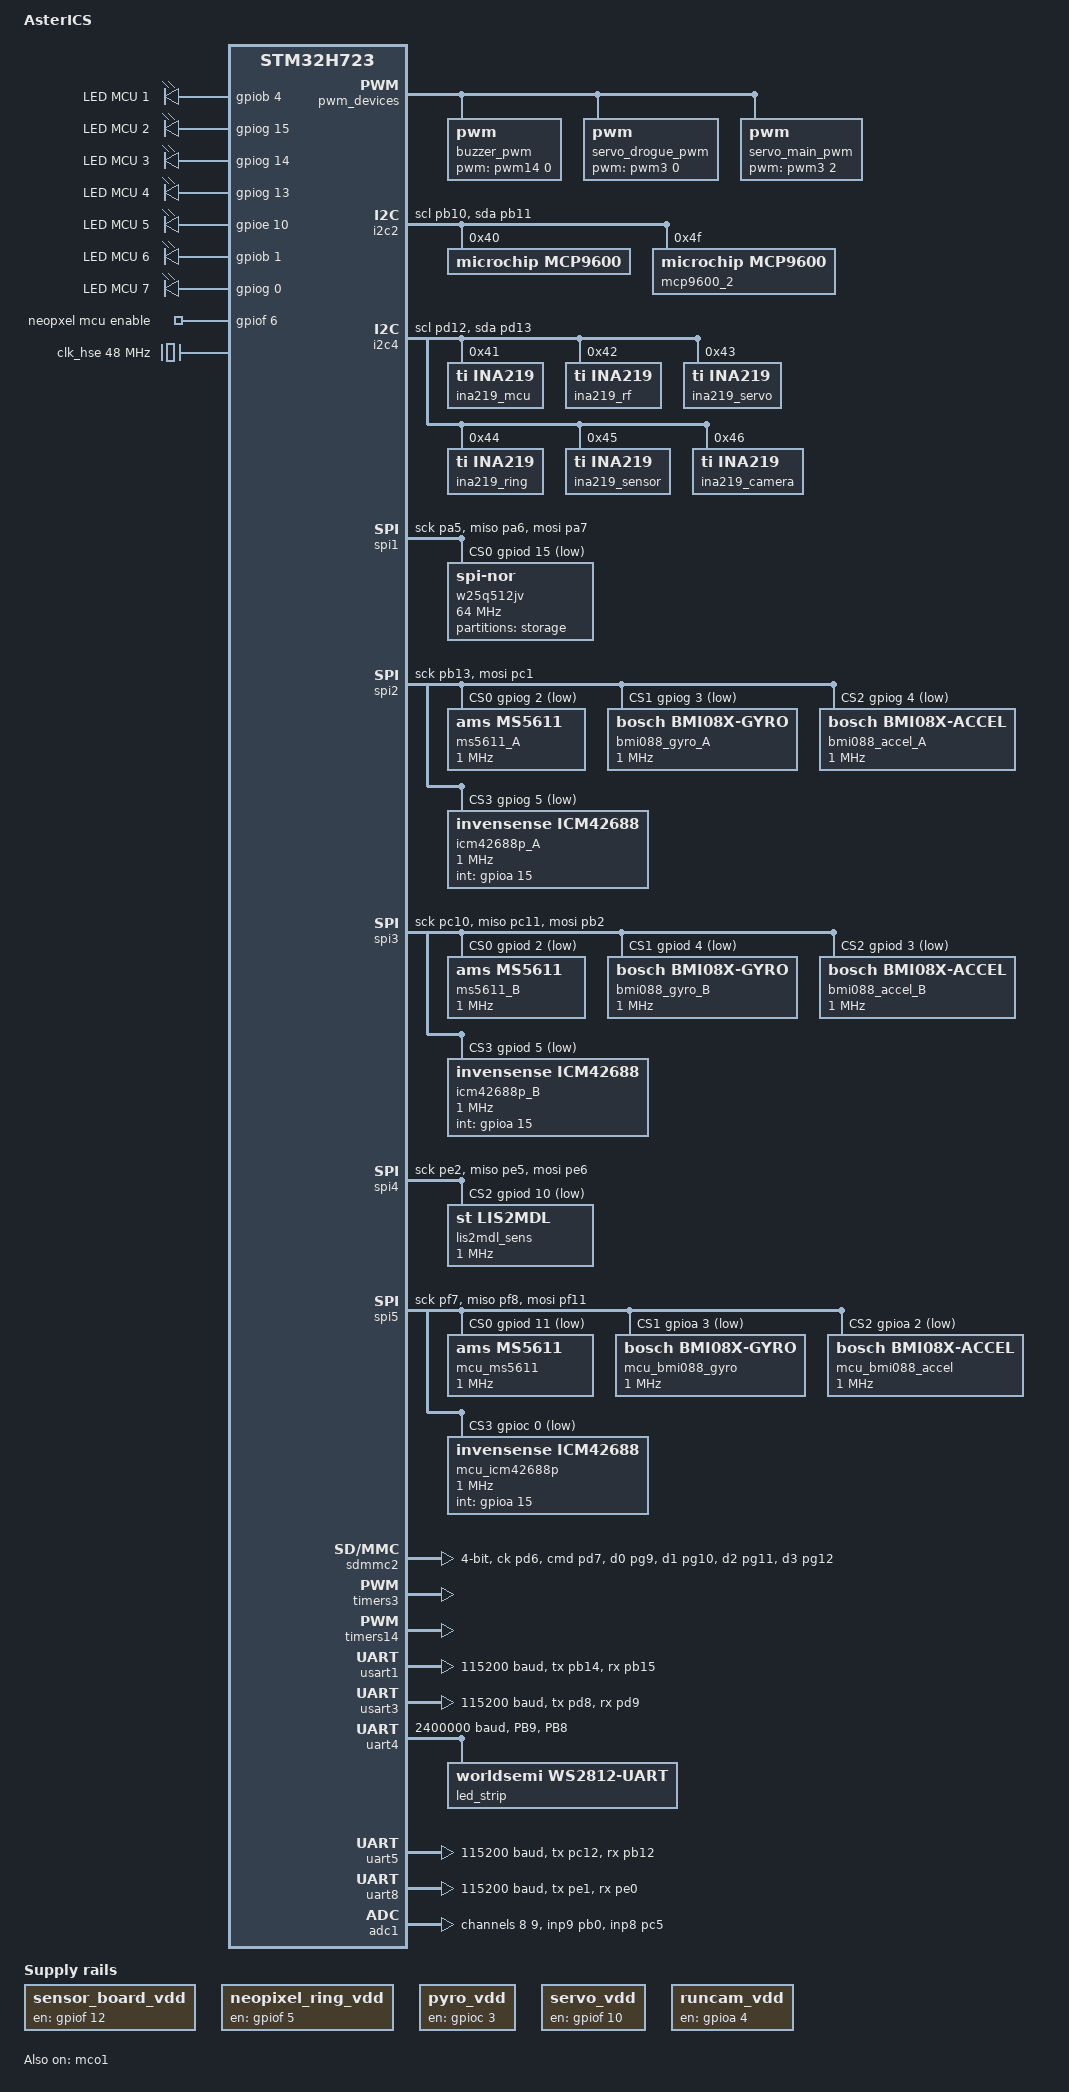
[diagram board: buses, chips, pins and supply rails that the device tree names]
/dts-v1/;
#include <st/h7/stm32h723.dtsi>
#include <st/h7/stm32h723zgtx-pinctrl.dtsi>

#include <zephyr/dt-bindings/sensor/icm42688.h> // To use sensor macros
#include <zephyr/dt-bindings/sensor/bmp581.h>

#include <zephyr/dt-bindings/led/led.h>
#include <zephyr/dt-bindings/gpio/gpio.h>
#include <zephyr/dt-bindings/memory-attr/memory-attr-arm.h>
#include <zephyr/dt-bindings/dma/stm32_dma.h>


/ {
    model = "AsterICS";
    compatible = "asterics";

    chosen {
        zephyr,console = &usart1;
        zephyr,shell-uart = &usart1;
        zephyr,sram = &sram0;
        zephyr,flash = &flash0;
        zephyr,led-strip = &led_strip;
    };

    leds {
        compatible = "gpio-leds";
        led_mcu_1: led_mcu_1 {
            gpios = <&gpiob 4 GPIO_ACTIVE_HIGH>;
            label = "LED MCU 1";
        };
        led_mcu_2: led_mcu_2 {
            gpios = <&gpiog 15 GPIO_ACTIVE_HIGH>;
            label = "LED MCU 2";
        };
        led_mcu_3: led_mcu_3 {
            gpios = <&gpiog 14 GPIO_ACTIVE_HIGH>;
            label = "LED MCU 3";
        };
        led_mcu_4: led_mcu_4 {
            gpios = <&gpiog 13 GPIO_ACTIVE_HIGH>;
            label = "LED MCU 4";
        };
        led_mcu_5: led_mcu_5 {
            gpios = <&gpioe 10 GPIO_ACTIVE_HIGH>;
            label = "LED MCU 5";
        };
        led_mcu_6: led_mcu_6 {
            gpios = <&gpiob 1 GPIO_ACTIVE_HIGH>;
            label = "LED MCU 6";
        };
        led_mcu_7: led_mcu_7 {
            gpios = <&gpiog 0 GPIO_ACTIVE_HIGH>;
            label = "LED MCU 7";
        };
    };

    neopixel_enable: neopixel-enable {
        compatible = "gpio-keys";
        neopixel_en: neopixel_en {
            gpios = <&gpiof 6 GPIO_ACTIVE_HIGH>;
            label = "neopxel mcu enable";
        };
    };

    /* led_strip_1: ws2812_1 {
        compatible = "worldsemi,ws2812-gpio";

        chain-length = <24>;
        color-mapping = <LED_COLOR_ID_GREEN
                        LED_COLOR_ID_RED
                        LED_COLOR_ID_BLUE>;
        gpios = <&gpiob 8 GPIO_ACTIVE_HIGH>;

    //parametri di default per WS2812. Se necessario, modificarli
        delay-t1h = <700>;   
        delay-t1l = <600>;
        delay-t0h = <350>;
        delay-t0l = <800>;
        reset-delay = <8000>;

        // sarebbe intelligente inserire la configurazione del pin di enable/abilitazione del regolatore corrispondente
    };

    led_strip: ws2812_2 {
        compatible = "worldsemi,ws2812-uart";

        chain-length = <12>;
        color-mapping = <LED_COLOR_ID_GREEN
                        LED_COLOR_ID_RED
                        LED_COLOR_ID_BLUE>;
        gpios = <&gpiob 9 GPIO_ACTIVE_HIGH>;

        delay-t1h = <700>;
        delay-t1l = <600>;
        delay-t0h = <350>;
        delay-t0l = <800>;
        reset-delay = <8000>;
        
    }; */

    pwm_devices {
        buzzer_pwm: buzzer_pwm {
            compatible = "pwm";
            pwms = <&pwm14 0 250000 PWM_POLARITY_NORMAL>; 
        };

        servo_drogue_pwm: servo_drogue_pwm {
            compatible = "pwm";
            // canale 1, 20ms period (50Hz)
            pwms = <&pwm3 0 20000000 PWM_POLARITY_NORMAL>; 
        };

        servo_main_pwm: servo_main_pwm {
            compatible = "pwm";
            // canale 3, 20ms period (50Hz)
            pwms = <&pwm3 2 20000000 PWM_POLARITY_NORMAL>; 
        };
    };
    
    regulators {
        /* Primo alimentatore: es. per i sensori ambientali */
        sensor_board_vdd: regulator_sensor_board_vdd {
            compatible = "regulator-fixed";
            regulator-name = "sensor_board_vdd_3v3";
            enable-gpios = <&gpiof 12 GPIO_ACTIVE_HIGH>; /* Pin che accende l'alimentatore */
            
            startup-delay-us = <1000>; /* Tempo di assestamento prima che sia pronto */
            
            regulator-boot-on; 
        };

        neopixel_ring_vdd: regulator_neopixel_ring_vdd {
            compatible = "regulator-fixed";
            regulator-name = "neopixel_ring_5v";
            enable-gpios = <&gpiof 5 GPIO_ACTIVE_HIGH>; /* Pin che accende l'alimentatore */
            
            startup-delay-us = <200>; /* Tempo di assestamento prima che sia pronto */
            
            regulator-boot-on; 
            //regulator-boot-off;
        };

        pyro_vdd: regulator_pyro_vdd {
            compatible = "regulator-fixed";
            regulator-name = "pyro_6v";
            enable-gpios = <&gpioc 3 GPIO_ACTIVE_HIGH>; /* Pin che accende l'alimentatore */
            
            startup-delay-us = <200>; /* Tempo di assestamento prima che sia pronto */
            
            //regulator-boot-on; 
            regulator-boot-off;
        };

        servo_vdd: regulator_servo_vdd {
            compatible = "regulator-fixed";
            regulator-name = "servo_6v";
            enable-gpios = <&gpiof 10 GPIO_ACTIVE_HIGH>;

            startup-delay-us = <200>;
            
            regulator-boot-off;
        };

        runcam_vdd: regulator_runcam_vdd {
            compatible = "regulator-fixed";
            regulator-name = "runcam_pwr";
            enable-gpios = <&gpioa 4 GPIO_ACTIVE_HIGH>;
            
            startup-delay-us = <2000>;
            
            regulator-boot-off;
        };

        //Telemetry regulator (not available)

        //mcu regulator (not available)

    };
};

&sram0 {
    reg = <0x24000000 DT_SIZE_K(320)>;
};

&flash0 {
    reg = <0x08000000 DT_SIZE_K(1024)>;
};

&clk_hse {
    clock-frequency = <DT_FREQ_M(48)>;
    status = "okay";
};

&clk_lse {
    driving-capability = <2>;
    status = "okay";
};

&pll {
    div-m = <3>;
    mul-n = <34>;
    div-p = <1>;
    div-q = <10>;
    div-r = <11>;
    fracn = <3072>;
    clocks = <&clk_hse>;
    status = "okay";
};

&pll2 {
    div-m = <3>;
    mul-n = <12>;
    div-p = <3>;
    div-q = <3>;
    div-r = <3>;
    fracn = <0>;

    clocks = <&clk_hse>;
    status = "okay";
};

&pll3 {
    div-m = <3>;
    mul-n = <12>;
    div-p = <3>;
    div-q = <3>;
    div-r = <3>;
    fracn = <0>;

    clocks = <&clk_hse>;
    status = "okay";
};

&rcc {
    clocks = <&pll>;
    clock-frequency = <DT_FREQ_M(550)>; /* CPU Core Clock */
    d1cpre = <1>;   // sets the CPU clock, same as systick
    hpre = <2>;     // 275MHz to AXI, HCLK3, AHB1, AHB2, AHB4
    d1ppre = <2>;   //137.5MHz to APB3 peripheral clocks
    d2ppre1 = <2>;  //137.5MHz to APB1 peripheral clocks
    d2ppre2 = <2>;  //137.5MHz to APB2 peripheral clocks
    d3ppre = <2>;   //137.5MHz to APB4 peripheral clocks
    //APB1 timer clocks = APB1 clock * 2 = 275MHz
    //APB2 timer clocks = APB2 clock * 2 = 275MHz
};

&mco1 {
    clocks = <&rcc STM32_SRC_LSE MCO1_SEL(MCO1_SEL_LSE)>;
    prescaler = <MCO1_PRE(MCO_PRE_DIV_1)>;
    pinctrl-0 = <&rcc_mco_1_pa8>;
    pinctrl-names = "default";
    status = "okay";
};

&i2c2 {
    status = "okay";

    pinctrl-0 = <&i2c2_scl_pb10 &i2c2_sda_pb11>;
    pinctrl-names = "default";

    //TODO: clocks = <&rcc STM32_CLOCK(APB1, 22)>;

    //https://docs.zephyrproject.org/latest/build/dts/api/bindings/sensor/microchip%2Cmcp9600.html#dtbinding-microchip-mcp9600
    //TODO: parametri
    mcp9600: mcp9600@40 {
        compatible = "microchip,mcp9600";
        reg = <0x40>;
    };

    mcp9600_2: mcp9600@4f {
        compatible = "microchip,mcp9600";
        reg = <0x4f>;
    };
};

&i2c4 {
    status = "okay";

    pinctrl-0 = <&i2c4_scl_pd12 &i2c4_sda_pd13>;
    pinctrl-names = "default";

    //TODO: clocks = <&rcc STM32_CLOCK(APB4, 

    // I2C4 ha a disposizione il BDMA, che può raggiungere locazioni di RAM solo nel dominio SRAM4
    // Vedi Table 2 dell'RM0468

    // i2c4_rx
    dmas = <&dmamux2 0 13 (STM32_DMA_PERIPH_RX | STM32_DMA_PERIPH_NO_INC | STM32_DMA_PERIPH_8BITS | STM32_DMA_OFFSET_LINKED_BUS | STM32_DMA_PRIORITY_MEDIUM)>;
    // i2c4_tx
    dmas = <&dmamux2 1 14 (STM32_DMA_PERIPH_TX | STM32_DMA_PERIPH_NO_INC | STM32_DMA_PERIPH_8BITS | STM32_DMA_OFFSET_LINKED_BUS | STM32_DMA_PRIORITY_MEDIUM)>;

    //https://docs.zephyrproject.org/latest/build/dts/api/bindings/sensor/ti,ina219.html
    ina219_mcu: ina219@41 {
        compatible = "ti,ina219";
        reg = <0x41>;

        //required
        lsb-microamp = <50>;    //consente di avere una dinamica di 1.6A
        shunt-milliohm = <27>;
        
        //optional
        brng = <1>;     //BUS Voltage: 0: 16V, 1: 32V
        pg = <0>;       //±40 mV, ho un leggero overflow nel caso di consumo di alta corrente, ma non dovrebbe accadere mai
        badc = <9>;     //  Bus  //  ADC Resolution and sample averaging. TODO: change this depending on sampling frequency
        sadc = <9>;     // Shunt //  "" ""  ""  ""
        friendly-name = "ina219-mcu";
    };

    ina219_rf: ina219@42 {
        compatible = "ti,ina219";
        reg = <0x42>;

        //required
        lsb-microamp = <50>;    //consente di avere una dinamica di 1.6A
        shunt-milliohm = <27>;
        
        //optional
        brng = <1>;
        pg = <0>;       //±40 mV
        badc = <9>;
        sadc = <9>;
        friendly-name = "ina219-rf";
    };

    ina219_servo: ina219@43 {
        compatible = "ti,ina219";
        reg = <0x43>;

        //required
        lsb-microamp = <100>;
        shunt-milliohm = <27>;
        
        //optional
        brng = <1>;
        pg = <1>;       //±80 mV
        badc = <9>;
        sadc = <9>;
        friendly-name = "ina219-servo";
        };

    ina219_ring: ina219@44 {
        compatible = "ti,ina219";
        reg = <0x44>;

        //required
        lsb-microamp = <100>;
        shunt-milliohm = <27>;
        
        //optional
        brng = <1>;
        pg = <1>;       //±80 mV
        badc = <9>;
        sadc = <9>;
        friendly-name = "ina219-ring";
    };

    ina219_sensor: ina219@45 {
        compatible = "ti,ina219";
        reg = <0x45>;

        //required
        lsb-microamp = <30>;
        shunt-milliohm = <27>;
        
        //optional
        brng = <1>;
        pg = <0>;       //±40 mV
        badc = <9>;
        sadc = <9>;
        friendly-name = "ina219-sensor";
    };

    ina219_camera: ina219@46 {
        compatible = "ti,ina219";
        reg = <0x46>;

        //required
        lsb-microamp = <100>;
        shunt-milliohm = <27>;
        
        //optional
        brng = <1>;
        pg = <1>;
        badc = <9>;
        sadc = <9>;
        friendly-name = "ina219-camera";
    };

};

&spi1 {
    status = "okay";

    pinctrl-0 = <&spi1_sck_pa5 &spi1_miso_pa6 &spi1_mosi_pa7>;
    pinctrl-names = "default";

    clocks = <&rcc STM32_CLOCK(APB2, 12)>,
            <&rcc STM32_SRC_PLL2_P SPI123_SEL(1)>;

    cs-gpios = <&gpiod 15 (GPIO_ACTIVE_LOW | GPIO_PULL_UP)>;

    w25q512jv: w25q512jv@0 {
        compatible = "jedec,spi-nor";
        reg = <0>;

        spi-max-frequency = <64000000>;

        /* Dimensione in bit: 512 Mbit = 64 MByte = 0x4000000 */
        size = <0x4000000>;

        /* JEDEC ID per W25Q512JV-IQ/JQ:
            Manufacturer: 0xEF (Winbond)
            Memory Type:  0x40 (SPI)
           Capacity:     0x20 (512Mbit) */

        /* JEDEC ID per MX25L512:
            Manufacturer: 0xC2 (mxic)
            Memory Type:  0x20 (SPI)
           Capacity:     0x1a (512Mbit) */
        jedec-id = [C2 20 1a];  //check for different data size and memory type
    
        /* Partizionamento (Opzionale ma raccomandato) */
        partitions {
            compatible = "fixed-partitions";
            #address-cells = <1>;
            #size-cells = <1>;

            storage_partition: partition@0 {
                label = "storage";
                reg = <0x00000000 0x04000000>; /* Tutta la memoria */
            };
        };

    };
};

&spi2 {
    status = "okay";

    pinctrl-0 = <&spi2_sck_pb13 &spi2_miso_pc2_c &spi2_mosi_pc1>;
    pinctrl-names = "default";

    clocks = <&rcc STM32_CLOCK(APB1, 14)>,
            <&rcc STM32_SRC_PLL2_P SPI123_SEL(1)>;

    cs-gpios = <&gpiog 2 (GPIO_ACTIVE_LOW | GPIO_PULL_UP)>,     //ms56
                <&gpiog 3 (GPIO_ACTIVE_LOW | GPIO_PULL_UP)>,    //gyro
                <&gpiog 4 (GPIO_ACTIVE_LOW | GPIO_PULL_UP)>,    //accel
                <&gpiog 5 (GPIO_ACTIVE_LOW | GPIO_PULL_UP)>;    //icm

    ms5611_A: ms5611@0 {
        status = "okay";

        compatible = "ams,ms5611";
        reg = <0>;
        spi-max-frequency = <1000000>;
    };

    bmi088_gyro_A: bmi08x-gyro@1 {
        status = "okay";

        compatible = "bosch,bmi08x-gyro";
        reg = <1>;
        spi-max-frequency = <1000000>;

        gyro-hz = "400_47";
        gyro-fs = <2000>;

        friendly-name="bmi088-gyro-A";
    };

    bmi088_accel_A: bmi08x-accel@2 {
        status = "okay";
        compatible = "bosch,bmi08x-accel";
        reg = <2>;
        spi-max-frequency = <1000000>;

        accel-hz = "1600";
        accel-fs = <16>;

        //data-sync = <&bmi088_gyro_A> //TODO: è necessario collegare un jumper fisicamente sulla scheda, controllare!
        friendly-name="bmi088-accel-A";
    };

    icm42688p_A: icm42688p@3 {
        status = "okay";
        compatible = "invensense,icm42688", "invensense,icm4268x";
        reg = <3>;
        spi-max-frequency = <1000000>;
        friendly-name = "icm42688-p-A";

        int-gpios = <&gpioa 15 GPIO_ACTIVE_HIGH>;
        
        /* Accel Config */
        accel-pwr-mode = <ICM42688_DT_ACCEL_LN>;
        accel-odr = <ICM42688_DT_ACCEL_ODR_1000>;
        accel-fs = <ICM42688_DT_ACCEL_FS_8>;

        /* Gyro */
        gyro-pwr-mode = <ICM42688_DT_GYRO_LN>;
        gyro-odr = <ICM42688_DT_GYRO_ODR_1000>;
        gyro-fs = <ICM42688_DT_GYRO_FS_1000>;
    };
};

&spi3 {
    status = "okay";

    pinctrl-0 = <&spi3_sck_pc10 &spi3_miso_pc11 &spi3_mosi_pb2>;
    pinctrl-names = "default";

    clocks = <&rcc STM32_CLOCK(APB1, 15)>,
            <&rcc STM32_SRC_PLL2_P SPI123_SEL(1)>;

    cs-gpios = <&gpiod 2 (GPIO_ACTIVE_LOW | GPIO_PULL_UP)>,     //ms56
                <&gpiod 4 (GPIO_ACTIVE_LOW | GPIO_PULL_UP)>,    //gyro
                <&gpiod 3 (GPIO_ACTIVE_LOW | GPIO_PULL_UP)>,    //acc
                <&gpiod 5 (GPIO_ACTIVE_LOW | GPIO_PULL_UP)>;    //icm

    ms5611_B: ms5611@0 {
        status = "okay";
        compatible = "ams,ms5611";
        reg = <0>;
        spi-max-frequency = <1000000>;
    };

    bmi088_gyro_B: bmi08x-gyro@1 {
        status = "okay";

        compatible = "bosch,bmi08x-gyro";
        reg = <1>;
        spi-max-frequency = <1000000>;

        gyro-hz = "400_47";
        gyro-fs = <2000>;

        friendly-name="bmi088-gyro-B";
    };

    bmi088_accel_B: bmi08x-accel@2 {
        status = "okay";
        compatible = "bosch,bmi08x-accel";
        reg = <2>;
        spi-max-frequency = <1000000>;

        accel-hz = "1600";
        accel-fs = <16>;

        //data-sync = <&bmi088_gyro_B> //TODO: è necessario collegare un jumper fisicamente sulla scheda, controllare!
        friendly-name="bmi088-accel-B";
    };

    icm42688p_B: icm42688p@3 {
        status = "okay";
        compatible = "invensense,icm42688", "invensense,icm4268x";
        reg = <3>;
        spi-max-frequency = <1000000>;
        friendly-name = "icm42688-p-B";

        int-gpios = <&gpioa 15 GPIO_ACTIVE_HIGH>;
        
        /* Accel Config */
        accel-pwr-mode = <ICM42688_DT_ACCEL_LN>;
        accel-odr = <ICM42688_DT_ACCEL_ODR_1000>;
        accel-fs = <ICM42688_DT_ACCEL_FS_8>;

        /* Gyro */
        gyro-pwr-mode = <ICM42688_DT_GYRO_LN>;
        gyro-odr = <ICM42688_DT_GYRO_ODR_1000>;
        gyro-fs = <ICM42688_DT_GYRO_FS_1000>;
    };
};

&spi4 {
    status = "okay";

    pinctrl-0 = <&spi4_sck_pe2 &spi4_miso_pe5 &spi4_mosi_pe6>;
    pinctrl-names = "default";

    clocks = <&rcc STM32_CLOCK(APB2, 13)>,
            <&rcc STM32_SRC_PLL3_Q SPI45_SEL(2)>;

    cs-gpios = <&gpiog 7 (GPIO_ACTIVE_LOW | GPIO_PULL_UP)>,     // BMP585
                <&gpiog 8 (GPIO_ACTIVE_LOW | GPIO_PULL_UP)>,    //H3LIS331D
                <&gpiod 10 (GPIO_ACTIVE_LOW | GPIO_PULL_UP)>,    //LIS2MDL
                <&gpiog 6 (GPIO_ACTIVE_LOW | GPIO_PULL_UP)>;    //HSCDRRN001BDSA3

    bmp585_sens: bmp585@0 {
        //NOTA: bmp585 is the same silicon as bmp581 but with barbed input
        status = "disabled";    //FIXME: the driver doesn't work in SPI mode yet
        compatible = "bosch,bmp581";
        reg = <0>;
        spi-max-frequency = <1000000>;
        friendly-name = "bmp585_sens";
    };

    //TODO: add h3lis331d driver and device tree node (@1)

    lis2mdl_sens: lis2mdl@2 {
        status = "okay";
        compatible = "st,lis2mdl";
        reg = <2>;
        spi-max-frequency = <1000000>;
        friendly-name = "lis2mdl_sens";
    };

    //TODO: add HSCDRRN001BDSA3 driver and device tree node (@3)
};

&spi5 {
    status = "okay";

    pinctrl-0 = <&spi5_sck_pf7 &spi5_miso_pf8 &spi5_mosi_pf11>;
    pinctrl-names = "default";

    /* * Sintassi: <&rcc MACRO_BUS_CLOCK BIT_MASK>,
     * <&rcc MACRO_SOURCE_CLOCK SELECTION_VAL>
     */
    clocks = <&rcc STM32_CLOCK(APB2, 20)>,
            <&rcc STM32_SRC_PLL3_Q SPI45_SEL(2)>;

    cs-gpios = <&gpiod 11 (GPIO_ACTIVE_LOW | GPIO_PULL_UP)>, //ms56
                <&gpioa 3 (GPIO_ACTIVE_LOW | GPIO_PULL_UP)>, //gyro
                <&gpioa 2 (GPIO_ACTIVE_LOW | GPIO_PULL_UP)>, //accel
                <&gpioc 0 (GPIO_ACTIVE_LOW | GPIO_PULL_UP)>, //icm
                <&gpioc 4 (GPIO_ACTIVE_LOW | GPIO_PULL_UP)>; //bmp

    mcu_ms5611: ms5611@0 {
        status = "okay";

        compatible = "ams,ms5611";
        reg = <0>;
        spi-max-frequency = <1000000>;
    };

    mcu_bmi088_gyro: bmi08x-gyro@1 {
        status = "okay";

        compatible = "bosch,bmi08x-gyro";
        reg = <1>;
        spi-max-frequency = <1000000>;

        gyro-hz = "400_47";
        gyro-fs = <2000>;

        friendly-name="bmi088-gyro-mcu";
    };

    mcu_bmi088_accel: bmi08x-accel@2 {
        status = "okay";
        compatible = "bosch,bmi08x-accel";
        reg = <2>;
        spi-max-frequency = <1000000>;

        accel-hz = "1600";
        accel-fs = <16>;

        //data-sync = <&mcu_bmi088_gyro> //TODO: è necessario collegare un jumper fisicamente sulla scheda, controllare!
        friendly-name="bmi088-accel-mcu";
    };

    mcu_icm42688p: mcu_icm42688p@3 {
        status = "okay";
        compatible = "invensense,icm42688", "invensense,icm4268x";
        reg = <3>;
        spi-max-frequency = <1000000>;
        friendly-name = "icm42688-p-mcu";

        int-gpios = <&gpioa 15 GPIO_ACTIVE_HIGH>;
        
        /* Accel Config */
        accel-pwr-mode = <ICM42688_DT_ACCEL_LN>;
        accel-odr = <ICM42688_DT_ACCEL_ODR_1000>;
        accel-fs = <ICM42688_DT_ACCEL_FS_8>;

        /* Gyro */
        gyro-pwr-mode = <ICM42688_DT_GYRO_LN>;
        gyro-odr = <ICM42688_DT_GYRO_ODR_1000>;
        gyro-fs = <ICM42688_DT_GYRO_FS_1000>;


        /* Correzione assi */
        /* axis-align-x = <SENSOR_AXIS_ALIGN_DT_Y>;
        axis-align-x-sign = <SENSOR_AXIS_ALIGN_DT_NEG>;
        
        axis-align-y = <SENSOR_AXIS_ALIGN_DT_X>;
        axis-align-y-sign = <SENSOR_AXIS_ALIGN_DT_NEG>;
        
        axis-align-z = <SENSOR_AXIS_ALIGN_DT_Z>;
        axis-align-z-sign = <SENSOR_AXIS_ALIGN_DT_NEG>; */
    };

    mcu_bmp585: mcu_bmp585@4 {
        //NOTA: bmp585 is the same silicon as bmp581 but with barbed input
        status = "disabled";    //FIXME: the driver doesn't work in SPI mode yet
        compatible = "bosch,bmp581";
        reg = <4>;
        spi-max-frequency = <1000000>;
        friendly-name = "bmp585-mcu";

        odr = <BMP581_DT_ODR_50_HZ>;
        press-osr = <BMP581_DT_OVERSAMPLING_4X>;
        temp-osr = <BMP581_DT_OVERSAMPLING_4X>;
        power-mode = <BMP581_DT_MODE_NORMAL>;
        press-iir = <0>;
        temp-iir = <0>;

    };

};

&sram4 {
    zephyr,memory-attr = <( DT_MEM_ARM(ATTR_MPU_RAM_NOCACHE) )>;
};

&sdmmc2 {
    // DMA NON disponibile per questa periferica
    status = "okay";
    pinctrl-0 = <&sdmmc2_ck_pd6 &sdmmc2_cmd_pd7
                &sdmmc2_d0_pg9 &sdmmc2_d1_pg10 
                &sdmmc2_d2_pg11 &sdmmc2_d3_pg12>;
    pinctrl-names = "default";

    cd-gpios = <&gpioa 10 GPIO_ACTIVE_LOW>;
    
    bus-width =<4>;

    clk-div = <2>; //the output bus frequency is FREQ_BUS = SDMMMC_CLK / [CLKDIV + 2]

    clocks = <&rcc STM32_CLOCK(AHB2, 9)>,
            <&rcc STM32_SRC_PLL2_R SDMMC_SEL(1)>; //SDMMMC_CLK = 64MHz
    
    #address-cells = <1>;
    #size-cells = <1>;

    disk-name = "SDCard";

};

&fdcan1 {
    status = "disabled";

    pinctrl-0 = <&fdcan1_rx_pd0 &fdcan1_tx_pd1>;
    pinctrl-names = "default";

    clk-divider = <4>;

};

&timers3 {
    status = "okay";

    pwm3: pwm {
        status = "okay";

        pinctrl-0 = <&tim3_ch1_pc6 &tim3_ch3_pc8>;
        pinctrl-names = "default";
    };
};

&timers14 {
    status = "okay";

    pwm14: pwm {
        status = "okay";

        pinctrl-0 = <&tim14_ch1_pf9>;
        pinctrl-names = "default";
    };
};

&usart1 {
    status = "okay";

    pinctrl-0 = <&usart1_tx_pb14 &usart1_rx_pb15>;
    pinctrl-names = "default";
    current-speed = <115200>;
};

&usart3 {
    status = "okay";

    pinctrl-0 = <&usart3_tx_pd8 &usart3_rx_pd9>;
    pinctrl-names = "default";
    current-speed = <115200>;
};

&uart4 {
    status = "okay";
    pinctrl-0 = <&uart4_ws2812_mcu &uart4_ws2812_ring>;
    pinctrl-names = "default";

    reg = <0x40004C00 DT_SIZE_K(1024)>;

    current-speed = <2400000>; /* 2.5 MHz baudrate */
       /* Frame constraint: (1 start + 7 data + 1 stop) = 9 bits total. */
    data-bits = <7>;
    /* tx-invert is required to create an idle-low signal. */
    tx-invert;

    dmas = <&dmamux1 0 64 (STM32_DMA_PERIPH_TX | STM32_DMA_PRIORITY_HIGH)>;
    dma-names = "tx";

    /* /* clocks = <&rcc STM32_CLOCK(APB1, 16)>,                 /* 1. Clock del bus (Accensione periferica) */
            // <&rcc STM32_SRC_PLL3_Q USART2345678_SEL(2)>;   /* 2. Clock di dominio (Baud rate a 64MHz) */ */ */

    led_strip: ws2812-strip {
        compatible = "worldsemi,ws2812-uart";
        status = "okay";
        chain-length = <50>;
        
        bits-per-symbol = <3>;
        
        one-symbol = <6>;   /* 0b110 */
        zero-symbol = <4>;  /* 0b100 */
        reset-delay = <50>; 

        color-mapping = <LED_COLOR_ID_GREEN
                         LED_COLOR_ID_RED
                         LED_COLOR_ID_BLUE>;
    };
};

&dmamux1 {
    status = "okay";
};

&dmamux2 {
    status = "okay";
};

&pinctrl {
    uart4_ws2812_mcu: uart4_tx_ws2812 {
        pinmux = <STM32_PINMUX('B', 9, AF8)>;
        bias-disable;
        drive-push-pull;
        slew-rate = "very-high-speed";
    };

    uart4_ws2812_ring: uart4_rx_ws2812 {
        pinmux = <STM32_PINMUX('B', 8, AF8)>;
        bias-disable;
        drive-push-pull;
        slew-rate = "very-high-speed";
    };
};

&uart5 {
    status = "okay";

    pinctrl-0 = <&uart5_tx_pc12 &uart5_rx_pb12>;
    pinctrl-names = "default";
    current-speed = <115200>;
};

&uart8 {
    status = "okay";

    pinctrl-0 = <&uart8_tx_pe1 &uart8_rx_pe0>;
    pinctrl-names = "default";
    current-speed = <115200>;
};

&adc1 {
    status = "okay";
    pinctrl-0 = <&adc1_inp9_pb0
                &adc1_inp8_pc5>;
    
    pinctrl-names = "default"; 

    //resolutions = <STM32_ADC_RES(16, 0x00);

    st,adc-clock-source = "ASYNC";


    // Il primo è il clock di bus, il secondo è quello della periferica. 
    //è possibile anche aggiungere un fattore di divisione per un prescaler del clock in ingresso
    // il secondo elemento va messo se si sceglie di usare un clock-source async
    clocks = <&rcc STM32_CLOCK(AHB1, 5)>,
            <&rcc STM32_SRC_PLL3_R ADC_SEL(1)>;

    clock-names = "adcx", "adc_ker";

    st,adc-prescaler = <4>;

    //sampling-times = <33>; // FIXME: random magic number, check in cubemx
    //st,adc-sequencer = "fixed";
    
    #address-cells = <1>;
    #size-cells = <0>;

    channel@8 {
        reg = <8>;
        zephyr,gain = "ADC_GAIN_1";
        zephyr,reference = "ADC_REF_INTERNAL";
        zephyr,acquisition-time = <ADC_ACQ_TIME_DEFAULT>;
        zephyr,resolution = <16>;
        // PC5
    };

    channel@9 {
        reg = <9>;
        zephyr,gain = "ADC_GAIN_1";
        zephyr,reference = "ADC_REF_INTERNAL";
        zephyr,acquisition-time = <ADC_ACQ_TIME_DEFAULT>;
        zephyr,resolution = <16>;
        //label = "PB0";
    };
};


&dma1 {
    status = "okay";
};

&dma2 {
    status = "okay";
};

&bdma1 {
    status = "okay";
};

&gpioa {
    status = "okay";
};

&gpiob {
    status = "okay";
};

&gpioc {
    status = "okay";
};

&gpiod {
    status = "okay";
};

&gpioe {
    status = "okay";
};

&gpiof {
    status = "okay";
};

&gpiog {
    status = "okay";
};
